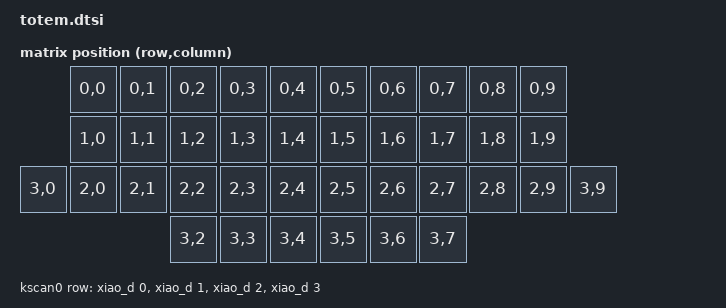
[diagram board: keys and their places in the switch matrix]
/*
 * Copyright (c) 2022 The ZMK Contributors
 *
 * SPDX-License-Identifier: MIT
 */

#include <dt-bindings/zmk/matrix_transform.h>

/ {
    chosen {
        zmk,kscan = &kscan0;
        zmk,matrix_transform = &default_transform;
        zmk,battery = &vbatt;
    };

    default_transform: keymap_transform_0 {
        compatible = "zmk,matrix-transform";
        columns = <10>;
        rows = <4>;
//             | SW01  | SW02  | SW03  | SW04  | SW05  |  | SW05  | SW04  | SW03  | SW02  | SW01  |
//             | SW06  | SW07  | SW08  | SW09  | SW10  |  | SW10  | SW09  | SW08  | SW07  | SW06  | 
//      | SW16 | SW11  | SW12  | SW13  | SW14  | SW15  |  | SW15  | SW14  | SW13  | SW12  | SW11  | SW16  |
//                             | SW17  | SW18  | SW19  |  | SW19  | SW18  | SW17  | 
        map = <
                RC(0,0) RC(0,1) RC(0,2) RC(0,3) RC(0,4)    RC(0,5) RC(0,6) RC(0,7) RC(0,8) RC(0,9)
                RC(1,0) RC(1,1) RC(1,2) RC(1,3) RC(1,4)    RC(1,5) RC(1,6) RC(1,7) RC(1,8) RC(1,9)
        RC(3,0) RC(2,0) RC(2,1) RC(2,2) RC(2,3) RC(2,4)    RC(2,5) RC(2,6) RC(2,7) RC(2,8) RC(2,9) RC(3,9)
                                RC(3,2) RC(3,3) RC(3,4)    RC(3,5) RC(3,6) RC(3,7)         
        >;
    };


    kscan0: kscan_0 {
        compatible = "zmk,kscan-gpio-matrix";
        label = "KSCAN";
        
        diode-direction = "col2row"; 
        row-gpios
            = <&xiao_d 0 (GPIO_ACTIVE_HIGH | GPIO_PULL_DOWN)>
            , <&xiao_d 1 (GPIO_ACTIVE_HIGH | GPIO_PULL_DOWN)>
            , <&xiao_d 2 (GPIO_ACTIVE_HIGH | GPIO_PULL_DOWN)>
            , <&xiao_d 3 (GPIO_ACTIVE_HIGH | GPIO_PULL_DOWN)>
            ;
    };

        EXT_POWER {
        compatible = "zmk,ext-power-generic";
        control-gpios = <&gpio0 13 GPIO_ACTIVE_HIGH>;
        init-delay-ms = <50>;
    };

    vbatt: vbatt {
        compatible = "zmk,battery-nrf-vddh";
    };
};

zephyr_udc0: &usbd {
    compatible = "nordic,nrf-usbd";
    status = "okay";
};

&pinctrl {

    spi3_default: spi3_default {
        group1 {
            psels = <NRF_PSEL(SPIM_MOSI, 1, 12)>; // WS2812_VEXT_DATA
        };
    };

    spi3_sleep: spi3_sleep {
        group1 {
            psels = <NRF_PSEL(SPIM_MOSI, 1, 12)>;
            low-power-enable;
        };
    };
    pwm0_default: pwm0_default {
        group1 {
            psels = <NRF_PSEL(PWM_OUT0, 1, 13)>;
        };
    };
    pwm0_sleep: pwm0_sleep {
        group1 {
            psels = <NRF_PSEL(PWM_OUT0, 1, 13)>;
            low-power-enable;
        };
    };
};

&pwm0 {
    status = "okay";
    pinctrl-0 = <&pwm0_default>;
    pinctrl-1 = <&pwm0_sleep>;
    pinctrl-names = "default", "sleep";
};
